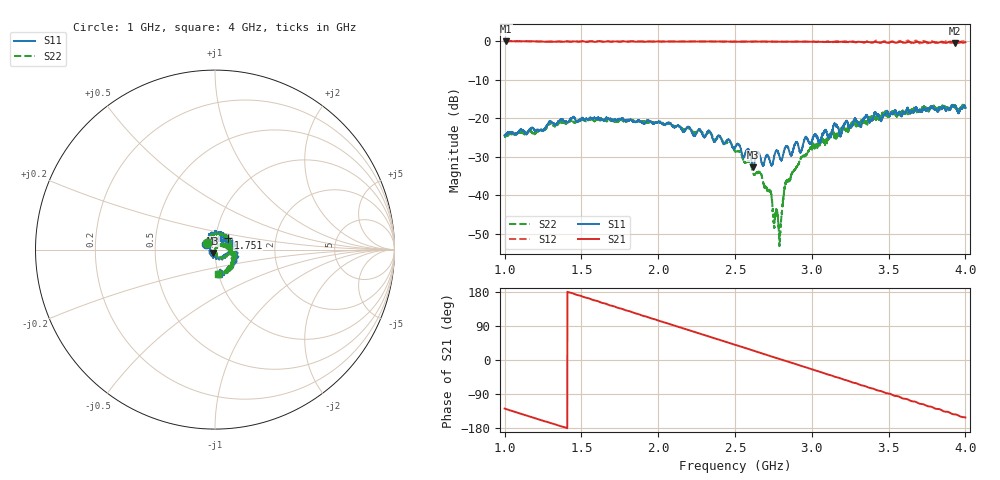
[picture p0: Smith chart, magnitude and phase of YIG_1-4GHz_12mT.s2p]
#  HZ  S  RI  R  50.0
! Rohde & Schwarz ZVL13 2Ports - Version 3.31 - 1303.6509k13 SN: 101088
! Date: 2023-03-06 14:32:38
! Data & Calibration Information:
! Trc4:S11(TOSM) Trc2:S21(TOSM) Trc3:S12(TOSM) Trc5:S22(TOSM)
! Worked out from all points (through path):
!   4000 points, 1 GHz to 4 GHz, reference 50 ohm
!   highest |S21| = -0.07 dB at 1.009 GHz (marker M1); lowest = -0.5 dB at 3.93 GHz (marker M2)
!   group delay of S21, straight-line fit = 357 ps
!   lowest |S11| = -32.8 dB at 2.616 GHz (marker M3), VSWR 1.05, Z = 48.6 - j1.81 ohm
!   |S11| at or under -10 dB: start of sweep to end of sweep
!   |S22| runs from -53.1 to -16.5 dB; largest |S21 - S12| = 0.071
!   S11 on the Smith chart (normalised r, x): 1 GHz: 0.90, +0.06; 1.751 GHz: 1.14, +0.15; 4 GHz: 1.01, -0.28
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1e9  -0.0517 0.0314  -0.6106 -0.7796  -0.6169 -0.7783  -0.0436 0.0377
1.009002e9  -0.0503 0.0355  -0.6296 -0.7671  -0.628 -0.7605  -0.044 0.0388
1.24006e9  -0.0364 0.06  -0.92 -0.3461  -0.9175 -0.3576  -0.0214 0.0653
1.500375e9  0.0195 0.0965  -0.9637 0.1957  -0.9699 0.1897  0.0394 0.0886
1.750938e9  0.0717 0.0665  -0.7025 0.6723  -0.7115 0.6766  0.0799 0.0494
2e9  0.0889 0.00445  -0.242 0.9524  -0.2377 0.9531  0.0891 -0.00363
2.23931e9  0.047 -0.0353  0.2771 0.9409  0.284 0.9442  0.0524 -0.039
2.331583e9  0.0414 -0.0545  0.4657 0.8655  0.4702 0.8645  0.0469 -0.0465
2.500375e9  -0.00988 -0.0408  0.7468 0.6302  0.7474 0.6265  0.0122 -0.0354
2.586647e9  -0.0187 -0.035  0.8549 0.4771  0.8632 0.4752  0.00734 -0.0269
2.615904e9  -0.0136 -0.0186  0.8871 0.4175  0.886 0.4176  0.00312 -0.0202
2.648162e9  -0.0293 -0.0217  0.9146 0.3517  0.9187 0.3482  0.00582 -0.0183
2.723931e9  -0.0277 -0.0102  0.9603 0.1895  0.9626 0.1907  -0.00176 -0.0112
2.750938e9  -0.0288 0.00542  0.9688 0.1283  0.9703 0.124  0.00114 -0.00432
2.790698e9  -0.0302 0.00873  0.9744 0.0435  0.981 0.0429  0.00166 0.00225
2.834209e9  -0.0333 0.0284  0.9736 -0.0506  0.9798 -0.0462  0.0115 0.00922
3e9  0.0062 0.0504  0.8875 -0.4025  0.8971 -0.4045  0.028 0.0312
3.268567e9  0.0721 0.042  0.4879 -0.833  0.4977 -0.8513  0.086 0.0148
3.500375e9  0.1123 -0.00412  0.0287 -0.9485  0.0228 -0.9396  0.0967 -0.0345
3.673668e9  0.1194 -0.0619  -0.327 -0.8998  -0.3514 -0.9436  0.0937 -0.0934
3.930233e9  0.0589 -0.1248  -0.7587 -0.5579  -0.8056 -0.5904  0.0429 -0.1402
4e9  0.0238 -0.135  -0.8476 -0.4555  -0.8641 -0.4086  0.0136 -0.131
